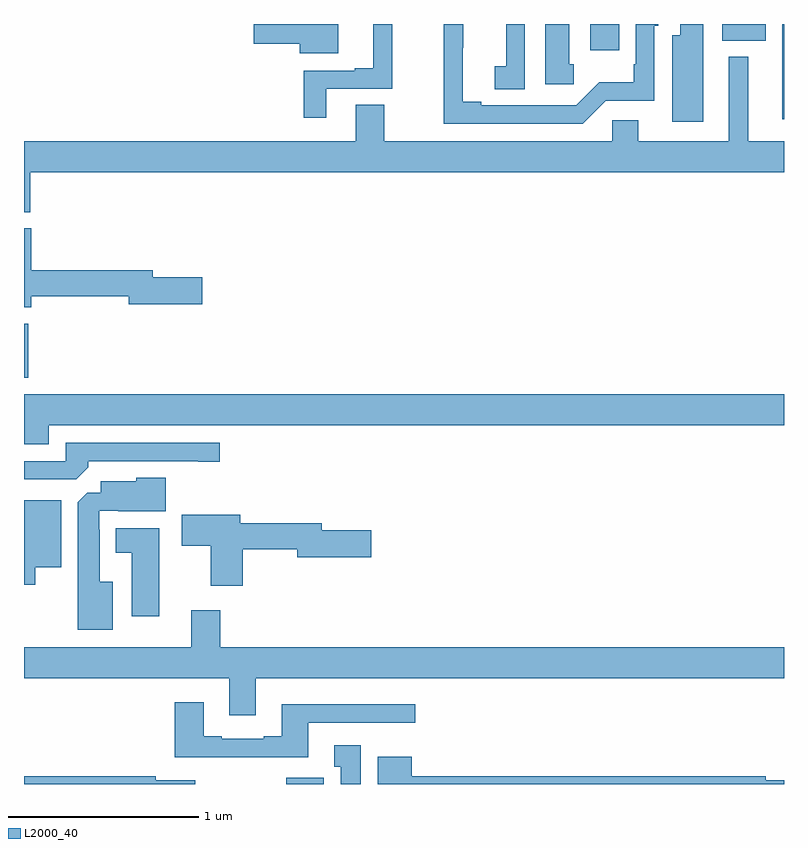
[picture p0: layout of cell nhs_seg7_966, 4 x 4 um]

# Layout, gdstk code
import gdstk
lib = gdstk.Library(unit=1e-6, precision=1e-09)
def R(c, l, rs):  # rectangles x0, y0, x1, y1
    for r in rs: c.add(gdstk.rectangle(r[:2], r[2:], *l))
def P(c, l, *ps):  # polygons
    for p in ps: c.add(gdstk.Polygon(p, *l))
L2000_40 = (2000, 40)

nhs_seg7_966 = lib.new_cell('nhs_seg7_966')
R(nhs_seg7_966, L2000_40, [(182.381,1060,182.577,1060.033), (181,1062.138,181.022,1062.423), (184.991,1063.499,185,1064), (183.98,1063.863,184.132,1064), (184.676,1063.913,184.903,1064)])
P(nhs_seg7_966, L2000_40, [(182.653,1064),(182.208,1064),(182.208,1063.895),(182.45,1063.895),(182.45,1063.847),(182.653,1063.847)],
  [(184.576,1064),(184.454,1064),(184.454,1063.942),(184.412,1063.942),(184.412,1063.485),(184.576,1063.485)],
  [(183.893,1063.788),(183.871,1063.788),(183.871,1064),(183.743,1064),(183.743,1063.683),(183.893,1063.683)],
  [(183.636,1064),(183.538,1064),(183.538,1063.777),(183.477,1063.777),(183.477,1063.657),(183.636,1063.657)],
  [(182.59,1063.659),(182.939,1063.659),(182.939,1064),(182.837,1064),(182.837,1063.768),(182.741,1063.768),(182.741,1063.755),(182.473,1063.755),(182.473,1063.506),(182.59,1063.506)],
  [(184.062,1063.596),(184.317,1063.596),(184.317,1063.992),(184.338,1063.992),(184.338,1064),(184.221,1064),(184.221,1063.789),(184.209,1063.789),(184.209,1063.693),(184.027,1063.693),(183.906,1063.572),(183.406,1063.572),(183.406,1063.592),(183.31,1063.592),(183.31,1063.875),(183.312,1063.875),(183.312,1064),(183.208,1064),(183.208,1063.476),(183.942,1063.476)],
  [(181.034,1063.22),(185,1063.22),(185,1063.384),(184.813,1063.384),(184.813,1063.828),(184.709,1063.828),(184.709,1063.384),(184.234,1063.384),(184.234,1063.494),(184.095,1063.494),(184.095,1063.384),(182.895,1063.384),(182.895,1063.574),(182.747,1063.574),(182.747,1063.384),(181,1063.384),(181,1063.009),(181.034,1063.009)],
  [(181.037,1062.568),(181.55,1062.568),(181.55,1062.526),(181.939,1062.526),(181.939,1062.668),(181.678,1062.668),(181.678,1062.704),(181.037,1062.704),(181.037,1062.924),(181,1062.924),(181,1062.508),(181.037,1062.508)],
  [(181.129,1061.888),(185,1061.888),(185,1062.052),(181,1062.052),(181,1061.789),(181.129,1061.789)],
  [(181.337,1061.666),(181.337,1061.7),(181.916,1061.7),(181.916,1061.695),(182.029,1061.695),(182.029,1061.796),(181.221,1061.796),(181.221,1061.7),(181,1061.7),(181,1061.604),(181.275,1061.604)],
  [(181.468,1061.065),(181.399,1061.065),(181.399,1061.339),(181.395,1061.339),(181.395,1061.439),(181.495,1061.439),(181.495,1061.435),(181.747,1061.435),(181.747,1061.611),(181.59,1061.611),(181.59,1061.593),(181.403,1061.593),(181.403,1061.532),(181.332,1061.532),(181.283,1061.483),(181.283,1060.811),(181.468,1060.811)],
  [(181.06,1061.141),(181.195,1061.141),(181.195,1061.494),(181,1061.494),(181,1061.049),(181.06,1061.049)],
  [(182.15,1061.236),(182.438,1061.236),(182.438,1061.194),(182.827,1061.194),(182.827,1061.336),(182.566,1061.336),(182.566,1061.372),(182.137,1061.372),(182.137,1061.416),(181.83,1061.416),(181.83,1061.254),(181.982,1061.254),(181.982,1061.043),(182.15,1061.043)],
  [(181.711,1061.347),(181.484,1061.347),(181.484,1061.216),(181.568,1061.216),(181.568,1060.884),(181.711,1060.884)],
  [(182.221,1060.556),(185,1060.556),(185,1060.72),(182.033,1060.72),(182.033,1060.915),(181.88,1060.915),(181.88,1060.72),(181,1060.72),(181,1060.556),(182.081,1060.556),(182.081,1060.362),(182.221,1060.362)],
  [(182.497,1060.323),(183.058,1060.323),(183.058,1060.42),(182.357,1060.42),(182.357,1060.252),(182.261,1060.252),(182.261,1060.239),(182.041,1060.239),(182.041,1060.252),(181.945,1060.252),(181.945,1060.429),(181.793,1060.429),(181.793,1060.142),(182.497,1060.142)],
  [(182.773,1060.204),(182.633,1060.204),(182.633,1060.091),(182.666,1060.091),(182.666,1060),(182.773,1060)],
  [(185,1060.02),(184.904,1060.02),(184.904,1060.04),(183.04,1060.04),(183.04,1060.144),(182.861,1060.144),(182.861,1060),(185,1060)],
  [(181.9,1060.02),(181.694,1060.02),(181.694,1060.04),(181,1060.04),(181,1060),(181.9,1060)])

lib.write_gds('nhs_seg7_966.gds')
